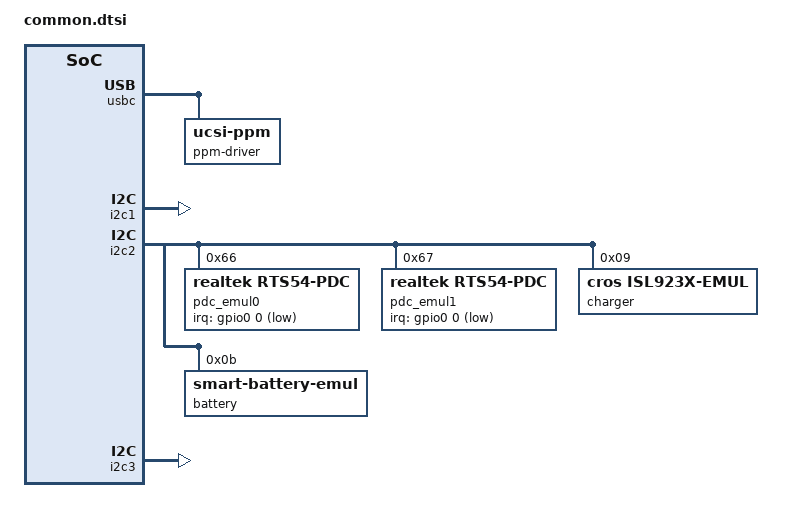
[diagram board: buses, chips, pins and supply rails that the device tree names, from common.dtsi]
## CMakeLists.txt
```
# Copyright 2026 The ChromiumOS Authors
# Use of this source code is governed by a BSD-style license that can be
# found in the LICENSE file.

# SPDX-License-Identifier: Apache-2.0

cmake_minimum_required(VERSION 3.20.0)

# Initialize Zephyr
find_package(Zephyr REQUIRED HINTS $ENV{ZEPHYR_BASE})
project(skywalker_tests)

add_subdirectory(${PLATFORM_EC}/zephyr/test/test_utils test_utils)

zephyr_include_directories(
	"${PLATFORM_EC_PROGRAM_DIR}/skywalker/include"
	"${PLATFORM_EC_PROGRAM_DIR}/skywalker/skywalker/include"
	include)

target_sources(app PRIVATE
	${PLATFORM_EC_PROGRAM_DIR}/skywalker/skywalker/src/sensor.c
)

target_sources(app PRIVATE
	src/main.c
)

target_sources_ifdef(CONFIG_TEST_SKYWALKER app PRIVATE
	src/test_skywalker.c
)
```

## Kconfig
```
# Copyright 2026 The ChromiumOS Authors
# Use of this source code is governed by a BSD-style license that can be
# found in the LICENSE file.

choice
    prompt "Select the test suite"

config TEST_SKYWALKER
    bool "Run the tests intended for Skywalker"
    help
      Enable the Skywalker test suite.

endchoice

# Pull Zephyr test support
source "Kconfig.zephyr"
```

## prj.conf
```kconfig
# Copyright 2026 The ChromiumOS Authors
# Use of this source code is governed by a BSD-style license that can be
# found in the LICENSE file.

CONFIG_ZTEST=y
CONFIG_ZTEST_ASSERT_VERBOSE=1
CONFIG_ASSERT=y

CONFIG_PLATFORM_EC=y
CONFIG_CROS_EC=y
CONFIG_EMUL=y
CONFIG_SHIMMED_TASKS=n
CONFIG_PLATFORM_EC_GPIO_INIT_PRIORITY=49
CONFIG_PLATFORM_EC_HOOKS=y
CONFIG_PLATFORM_EC_TIMER=y

CONFIG_AP_ARM_MTK_MT8189=y
CONFIG_PLATFORM_EC_CHIPSET_RESUME_INIT_HOOK=y
CONFIG_PLATFORM_EC_EXTPOWER_GPIO=y
CONFIG_PLATFORM_EC_POWERSEQ=y
CONFIG_PLATFORM_EC_POWERSEQ_HOST_SLEEP=y
CONFIG_PLATFORM_EC_POWER_SLEEP_FAILURE_DETECTION=y

CONFIG_PLATFORM_EC_HOSTCMD=y
CONFIG_PLATFORM_EC_HOSTCMD_TYPEC_STATUS=n

CONFIG_PLATFORM_EC_VBOOT_HASH=n
CONFIG_PLATFORM_EC_VBOOT_EFS2=n

CONFIG_PLATFORM_EC_USBC=y
CONFIG_PLATFORM_EC_USBC_PPC=n
CONFIG_PLATFORM_EC_USBC_SS_MUX=n
CONFIG_PLATFORM_EC_USB_CHARGER=n
CONFIG_PLATFORM_EC_USB_PD_CONTROLLER=y
CONFIG_PLATFORM_EC_USB_PD_MAX_CURRENT_MA=3250
CONFIG_PLATFORM_EC_USB_PD_MAX_POWER_MW=65000
CONFIG_PLATFORM_EC_USB_PD_TCPMV2=n
CONFIG_PLATFORM_EC_USB_PD_VBUS_MEASURE_PDC=y
CONFIG_PLATFORM_EC_PD_POWER_SUPPLY_TURN_OFF_DELAY=5000
CONFIG_PLATFORM_EC_PD_POWER_SUPPLY_TURN_ON_DELAY=5000
CONFIG_USBC_PDC_DRIVEN_CCD=y
CONFIG_PDC_POWER_MGMT_POWER_STATE_DEBOUNCE_PERIOD_MS=0
CONFIG_PLATFORM_EC_CONSOLE_CMD_TCPC_DUMP=n

CONFIG_PLATFORM_EC_BATTERY_FUEL_GAUGE=y
CONFIG_PLATFORM_EC_CHARGER_ISL9238=y
CONFIG_PLATFORM_EC_CHARGER_SENSE_RESISTOR=10
CONFIG_PLATFORM_EC_CHARGER_SENSE_RESISTOR_AC=10

CONFIG_PLATFORM_EC_MOTIONSENSE=y
CONFIG_PLATFORM_EC_ACCEL_LIS2DW12=y
CONFIG_PLATFORM_EC_ACCEL_BMA4XX=y

CONFIG_PLATFORM_EC_BACKLIGHT_LID=n
CONFIG_PLATFORM_EC_LID_SWITCH=y
CONFIG_PLATFORM_EC_POWER_BUTTON=y
CONFIG_PLATFORM_EC_SWITCH=n
CONFIG_PLATFORM_EC_TABLET_MODE=y
```

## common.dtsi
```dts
/* Copyright 2026 The ChromiumOS Authors
 * Use of this source code is governed by a BSD-style license that can be
 * found in the LICENSE file.
 */

#include <it8xxx2_emul.dts>
#include <usbc-policy.dtsi>
#include "../program/skywalker/power_signal.dtsi"

/ {
	pinctrl: pinctrl {
		compatible = "ite,it8xxx2-pinctrl";
		status = "disabled";
	};

	named-gpios {
		compatible = "named-gpios";

		gpio_acok_od_z5: acok_od_z5 {
			gpios = <&gpioa 4 (GPIO_INPUT)>;
			enum-name = "GPIO_AC_PRESENT";
		};
		gpio_ap_ec_sysrst_odl: ap_ec_sysrst_odl {
			gpios = <&gpioj 6 (GPIO_INPUT | GPIO_VOLTAGE_1P8 )>;
			enum-name = "GPIO_AP_EC_SYSRST_ODL";
		};
		gpio_ap_ec_warm_rst_req: ap_ec_warm_rst_req {
			gpios = <&gpiom 3 (GPIO_INPUT | GPIO_VOLTAGE_1P8)>;
			enum-name = "GPIO_AP_EC_WARM_RST_REQ";
		};
		gpio_ap_ec_wdtrst_l: ap_ec_wdtrst_l {
			gpios = <&gpioj 3 (GPIO_INPUT | GPIO_VOLTAGE_1P8)>;
			enum-name = "GPIO_AP_EC_WDTRST_L";
		};
		gpio_ap_in_sleep_l: ap_in_sleep_l {
			gpios = <&gpiom 2 (GPIO_INPUT | GPIO_VOLTAGE_1P8)>;
			enum-name = "GPIO_AP_IN_SLEEP_L";
		};
		gpio_ap_xhci_init_done_r: ap_xhci_init_done_r {
			gpios = <&gpioj 4 (GPIO_INPUT | GPIO_VOLTAGE_1P8)>;
		};
		gpio_charger_prochot_odl: charger_prochot_odl {
			gpios = <&gpioc 0 (GPIO_INPUT)>;
		};
		gpio_dp_aux_path_sel: dp_aux_path_sel {
			gpios = <&gpiog 0 (GPIO_OUTPUT | GPIO_ACTIVE_HIGH | GPIO_OUTPUT_INIT_LOW)>;
		};
		gpio_ec_ap_dpoc_en_odl: ec_ap_dpoc_en_odl {
			gpios = <&gpioj 7 (GPIO_OUTPUT | GPIO_OPEN_DRAIN | GPIO_ACTIVE_LOW | GPIO_OUTPUT_INIT_HIGH)>;
		};
		gpio_ec_ap_dp_hpd_l: ec_ap_dp_hpd_l {
			gpios = <&gpiof 3 (GPIO_OUTPUT | GPIO_ACTIVE_LOW | GPIO_OUTPUT_INIT_HIGH)>;
		};
		gpio_gsc_ec_pwr_btn_odl: gsc_ec_pwr_btn_odl {
			gpios = <&gpioa 5 (GPIO_INPUT)>;
			enum-name = "GPIO_POWER_BUTTON_L";
		};
		gpio_lid_360_l: lid_360_l {
			gpios = <&gpioc 7 (GPIO_INPUT)>;
			enum-name = "GPIO_TABLET_MODE_L";
		};
		gpio_lid_open_3v3_z5: lid_open_3v3_z5 {
			gpios = <&gpioc 6 (GPIO_INPUT)>;
			enum-name = "GPIO_LID_OPEN";
		};
		gpio_en_pwr_s3: en_pwr_s3 {
			gpios = <&gpioh 1 (GPIO_OUTPUT)>;
		};
		gpio_en_pwr_s0: en_pwr_s0 {
			gpios = <&gpioh 2 (GPIO_OUTPUT)>;
		};
		gpio_ec_bl_en_od: ec_bl_en_od {
			gpios = <&gpiod 2 (GPIO_OUTPUT | GPIO_OPEN_DRAIN | GPIO_ACTIVE_HIGH | GPIO_OUTPUT_INIT_LOW)>;
		};
		gpio_ec_ap_sys_rst_odl: ec_ap_sys_rst_odl {
			gpios = <&gpioj 5 (GPIO_OUTPUT | GPIO_OPEN_DRAIN | GPIO_ACTIVE_LOW | GPIO_OUTPUT_INIT_HIGH)>;
			enum-name = "GPIO_SYS_RST_ODL";
		};
		gpio_ec_pmic_en_odl_r: ec_pmic_en_odl_r {
			gpios = <&gpioj 0 (GPIO_OUTPUT | GPIO_OPEN_DRAIN | GPIO_ACTIVE_HIGH | GPIO_OUTPUT_INIT_HIGH)>;
			enum-name = "GPIO_EC_PMIC_EN_ODL";
		};
		gpio_en_pp5000: en_pp5000 {
			gpios = <&gpioh 3 (GPIO_OUTPUT | GPIO_ACTIVE_HIGH | GPIO_OUTPUT_INIT_HIGH)>;
			enum-name = "GPIO_EN_PP5000";
		};
		gpio_usb_c0_discharge: usb_c0_discharge {
			gpios = <&gpioi 0 (GPIO_OUTPUT)>;
			enum-name = "GPIO_USB_C0_DISCHARGE";
		};
		gpio_usb_c1_discharge: usb_c1_discharge {
			gpios = <&gpioi 1 (GPIO_OUTPUT)>;
			enum-name = "GPIO_USB_C1_DISCHARGE";
		};
		gpio_lid_accel_int_ec_l: lid_accel_int_ec_l {
			gpios = <&gpiod 1 (GPIO_INPUT | GPIO_VOLTAGE_1P8)>;
		};
		gpio_ec_batt_pres_odl: ec_batt_pres_odl {
			gpios = <&gpiod 6 (GPIO_INPUT)>;
			enum-name = "GPIO_BATT_PRES_ODL";
		};

		/* Dummy ones if needed */
		entering_rw: entering_rw {
			enum-name = "GPIO_ENTERING_RW";
		};
		gpio_pg_pp3700_s5_od: pg_pp3700_s5_od {
			gpios = <&gpioh 6 (GPIO_INPUT)>;
			enum-name = "GPIO_PG_PP4200_S5_OD";
		};
		gpio_pmic_ec_resetb: pmic_ec_resetb {
			gpios = <&gpioj 1 (GPIO_INPUT | GPIO_VOLTAGE_1P8)>;
			enum-name = "GPIO_PMIC_EC_RESETB";
		};
	};

	gpio-interrupts {
		compatible = "cros-ec,gpio-interrupts";

		int_ac_present: ac-present {
			irq-pin = <&gpio_acok_od_z5>;
			flags = <GPIO_INT_EDGE_BOTH>;
			handler = "extpower_interrupt";
		};

		int_ap_xhci_init_done: ap-xhci-init-done {
			irq-pin = <&gpio_ap_xhci_init_done_r>;
			flags = <GPIO_INT_EDGE_BOTH>;
			handler = "xhci_interrupt";
		};

		int_pwr_btn: pwr-btn {
			irq-pin = <&gpio_gsc_ec_pwr_btn_odl>;
			flags = <GPIO_INT_EDGE_BOTH>;
			handler = "power_button_interrupt";
		};

		int_lid_accel: lid-accel {
			irq-pin = <&gpio_lid_accel_int_ec_l>;
			flags = <GPIO_INT_EDGE_FALLING>;
			handler = "lid_accel_interrupt";
		};
	};

	named-i2c-ports {
		compatible = "named-i2c-ports";

		i2c_port_battery: i2c_port_battery {
			i2c-port = <&i2c1>;
			enum-names = "I2C_PORT_BATTERY";
		};
		i2c_port_pdc: i2c_port_pdc {
			i2c-port = <&i2c2>;
			enum-names = "I2C_PORT_PDC";
		};
		i2c_ec_i2c_sensor_scl_1v8: ec_i2c_sensor_scl_1v8 {
			i2c-port = <&i2c3>;
			enum-names = "I2C_PORT_SENSOR";
		};
	};

	usbc {
		#address-cells = <1>;
		#size-cells = <0>;

		port0@0 {
			compatible = "named-usbc-port";
			reg = <0>;
			chg = <&charger>;
			pdc = <&pdc_emul0>;
			policy = <&cros_policy>;
			usb-mux-chain-0 {
				compatible = "cros-ec,usb-mux-chain";
				usb-muxes = <&virtual_mux_0>;
			};
		};

		port0-muxes {
			virtual_mux_0: virtual-mux-0 {
				compatible = "cros-ec,usbc-mux-virtual";
			};
		};

		port1@1 {
			compatible = "named-usbc-port";
			reg = <1>;
			pdc = <&pdc_emul1>;
			policy = <&cros_policy>;
			usb-mux-chain-1 {
				compatible = "cros-ec,usb-mux-chain";
				usb-muxes = <&virtual_mux_1>;
			};
		};

		port1-muxes {
			virtual_mux_1: virtual-mux-1 {
				compatible = "cros-ec,usbc-mux-virtual";
			};
		};

		ppm-driver {
			compatible = "ucsi-ppm";
		};
	};

	motionsense-mutex {
		compatible = "cros-ec,motionsense-mutex";
		mutex_lis2dw12_lid: mutex-lis2dw12-lid {
		};
		mutex_bma4xx_lid: mutex-bma4xx-lid {
		};
	};

	motionsense-sensor-data {
		lid_data: lis2dw12-drv-lid-data {
			compatible = "cros-ec,drvdata-lis2dw12";
			status = "okay";
		};
		alt_lid_data: bma422-drv-lid-data {
			compatible = "cros-ec,drvdata-bma4xx";
			status = "okay";
		};
	};

	motionsense-sensor {
		lid_accel: lid-accel {
			compatible = "cros-ec,lis2dw12";
			status = "okay";
			mutex = <&mutex_lis2dw12_lid>;
			active-mask = "SENSOR_ACTIVE_S0_S3";
			location = "MOTIONSENSE_LOC_LID";
			port = <&i2c_ec_i2c_sensor_scl_1v8>;
			drv-data = <&lid_data>;
		};
	};

	motionsense-sensor-alt {
		alt_lid_accel: alt-lid-accel {
			compatible = "cros-ec,bma4xx";
			status = "okay";
			alternate-for = <&lid_accel>;
			mutex = <&mutex_bma4xx_lid>;
			active-mask = "SENSOR_ACTIVE_S0_S3";
			location = "MOTIONSENSE_LOC_LID";
			port = <&i2c_ec_i2c_sensor_scl_1v8>;
			drv-data = <&alt_lid_data>;
		};
	};

	motionsense-sensor-info {
		compatible = "cros-ec,motionsense-sensor-info";
		/*
		* List of GPIO interrupts that have to be enabled at initial
		* stage.
		*/
		sensor-irqs = <&int_lid_accel>;
	};

	batteries {
		default_battery: lgc_ac17a8m {
			compatible = "lgc,ac17a8m", "battery-smart";
			/**
			 * this has to be strictly lower than the desired
			 * voltage in smart battery emulator (5000mV).
			 */
			voltage_min = <4000>;
		};
	};
};

&i2c1 {
	status = "okay";
};

&i2c2 {
	status = "okay";
	pdc_emul0: rts5453@66 {

		compatible = "realtek,rts54-pdc";
		status = "okay";
		reg = <0x66>;
		irq-gpios = <&gpio0 0 GPIO_ACTIVE_LOW>;
		ccd;
	};

	pdc_emul1: rts5453@67 {
		compatible = "realtek,rts54-pdc";
		status = "okay";
		reg = <0x67>;
		irq-gpios = <&gpio0 0 GPIO_ACTIVE_LOW>;
	};

	charger: isl923x@9 {
		compatible = "cros,isl923x-emul";
		status = "okay";
		reg = <0x09>;
		battery = <&battery>;
	};

	battery: sb@b {
		compatible = "zephyr,smart-battery-emul";
		reg = <0xb>;
		cycle-count = <99>;
		version = "BATTERY_SPEC_VER_1_1_WITH_PEC";
		desired-charg-volt = <5000>;
		desired-charg-cur = <1000>;
		mf-name = "LGC";
		dev-name = "AC17A8M";
	};
};

&i2c3 {
	status = "okay";
};
```

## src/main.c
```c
/* Copyright 2026 The ChromiumOS Authors
 * Use of this source code is governed by a BSD-style license that can be
 * found in the LICENSE file.
 */

#include "ec_app_main.h"
#include "test_state.h"

#include <zephyr/ztest.h>

bool skywalker_predicate_post_main(const void *state)
{
	return ((struct test_state *)state)->ec_app_main_run;
}

void test_main(void)
{
	struct test_state state = {
		.ec_app_main_run = false,
	};

	/* Run all the suites that depend on main not being called yet */
	ztest_run_test_suites(&state, false, 1, 1);

	ec_app_main();

	state.ec_app_main_run = true;

	/* Run all the suites that depend on main being called */
	ztest_run_test_suites(&state, false, 1, 1);

	/* Check that every suite ran */
	ztest_verify_all_test_suites_ran();
}
```

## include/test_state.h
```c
/* Copyright 2026 The ChromiumOS Authors
 * Use of this source code is governed by a BSD-style license that can be
 * found in the LICENSE file.
 */

#ifndef ZEPHYR_TEST_SKYWALKER_INCLUDE_TEST_STATE_H_
#define ZEPHYR_TEST_SKYWALKER_INCLUDE_TEST_STATE_H_

#include <stdbool.h>

struct test_state {
	bool ec_app_main_run;
};

bool skywalker_predicate_post_main(const void *state);

#endif /* ZEPHYR_TEST_SKYWALKER_INCLUDE_TEST_STATE_H_ */
```

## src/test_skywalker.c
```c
/* Copyright 2026 The ChromiumOS Authors
 * Use of this source code is governed by a BSD-style license that can be
 * found in the LICENSE file.
 */

#include "hooks.h"
#include "test_state.h"

#include <zephyr/drivers/gpio.h>
#include <zephyr/drivers/gpio/gpio_emul.h>
#include <zephyr/fff.h>
#include <zephyr/kernel.h>
#include <zephyr/ztest.h>

FAKE_VALUE_FUNC(int, cbi_get_board_version, uint32_t *);
FAKE_VOID_FUNC(bma4xx_interrupt, enum gpio_signal);
FAKE_VOID_FUNC(lis2dw12_interrupt, enum gpio_signal);
FAKE_VOID_FUNC(xhci_interrupt, enum gpio_signal);

static int cbi_get_board_version_mock(uint32_t *value)
{
	*value = 1;
	return 0;
}

static void fake_cbi_init(void)
{
	cbi_get_board_version_fake.custom_fake = cbi_get_board_version_mock;
}
DECLARE_HOOK(HOOK_INIT, fake_cbi_init, HOOK_PRIO_POST_I2C - 1);

ZTEST(skywalker, test_lid_accel_interrupt)
{
	const struct gpio_dt_spec *gpio_lid_accel_int_ec_l =
		GPIO_DT_FROM_NODELABEL(gpio_lid_accel_int_ec_l);

	/* Trigger interrupt via GPIO emulator */
	zassert_ok(gpio_emul_input_set_dt(gpio_lid_accel_int_ec_l, 1));
	k_sleep(K_MSEC(1));
	zassert_ok(gpio_emul_input_set_dt(gpio_lid_accel_int_ec_l, 0));
	k_sleep(K_MSEC(1));
	zassert_ok(gpio_emul_input_set_dt(gpio_lid_accel_int_ec_l, 1));
	zassert_equal(lis2dw12_interrupt_fake.call_count, 0);
	zassert_equal(bma4xx_interrupt_fake.call_count, 1);
}

ZTEST_SUITE(skywalker, skywalker_predicate_post_main, NULL, NULL, NULL, NULL);
```
